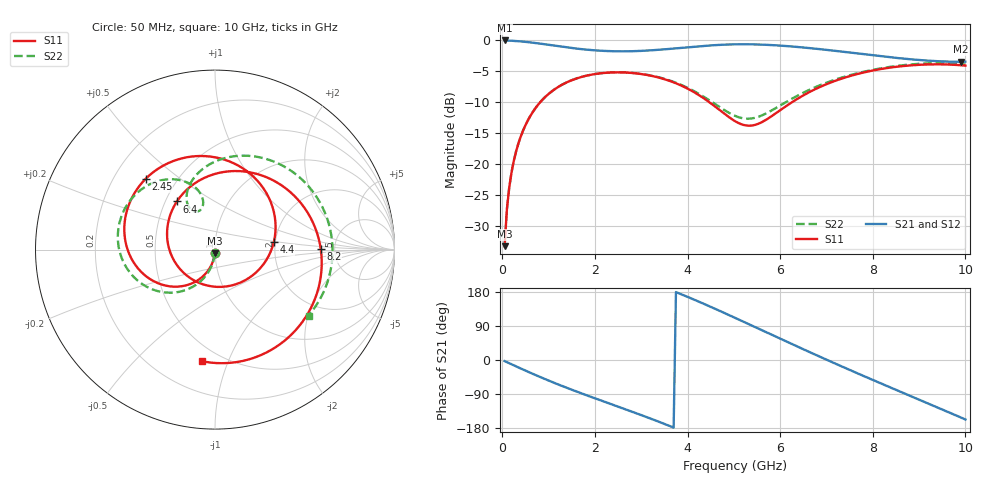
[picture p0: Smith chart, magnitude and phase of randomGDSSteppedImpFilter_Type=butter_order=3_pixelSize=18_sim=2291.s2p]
! freq	dB(S11)	phase(S11)	dB(S12)	phase(S12)
!  dB(S21)	phase(S21)	dB(S22)	phase(S22)
!S-par simulation data
#  GHz  S  DB  R 50
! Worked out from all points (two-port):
!   200 points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, 50 MHz to 10 GHz, reference 50 ohm
!   highest |S21| = 0.00 dB at 50 MHz (marker M1); lowest = -3.4 dB at 9.9 GHz (marker M2)
!   |S21| within 3 dB of the highest: start of sweep to 8.755 GHz
!   lowest |S11| = -33.3 dB at 50 MHz (marker M3), VSWR 1.04, Z = 49.8 - j2.17 ohm
!   |S11| at or under -10 dB: start of sweep to 817.3 MHz; 4.473 GHz to 6.253 GHz (1.78 GHz wide, 33.2 % of centre)
!   |S22| runs from -33.3 to -3.7 dB; largest |S21 - S12| = 0
!   S11 on the Smith chart (normalised r, x): 50 MHz: 1.00, -0.04; 2.45 GHz: 0.33, +0.38; 4.4 GHz: 1.96, +0.19; 6.4 GHz: 0.57, +0.35; 8.2 GHz: 3.87, +0.02; 10 GHz: 0.40, -0.81
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0.05  -33.25 -93.1  -0.00 -2.9  -0.00 -2.9  -33.25 -92.6
0.1  -27.25 -96.4  -0.02 -5.7  -0.02 -5.7  -27.25 -95.4
0.2  -21.30 -102.7  -0.05 -11.4  -0.05 -11.4  -21.30 -100.8
0.5  -13.70 -120.9  -0.23 -28.0  -0.23 -28.0  -13.70 -116.2
1.1  -8.06 -155.2  -0.82 -59.2  -0.82 -59.2  -8.05 -144.4
1.75  -5.82 170.4  -1.44 -89.9  -1.44 -89.9  -5.82 -171.3
2.45  -5.16 134.4  -1.75 -120.9  -1.75 -120.9  -5.15 163.0
2.95  -5.38 107.4  -1.70 -143.1  -1.70 -143.1  -5.35 145.8
3.4  -6.05 81.1  -1.50 -163.8  -1.50 -163.8  -5.99 131.2
3.9  -7.42 47.8  -1.17 171.7  -1.17 171.7  -7.31 116.4
4.4  -9.61 7.5  -0.85 145.7  -0.85 145.7  -9.33 105.8
5.05  -13.15 -65.4  -0.63 109.9  -0.63 109.9  -12.26 107.3
5.7  -12.81 -157.7  -0.71 73.2  -0.71 73.2  -11.79 120.8
6.05  -11.02 161.9  -0.86 53.5  -0.86 53.5  -10.30 120.6
6.4  -9.31 128.4  -1.07 33.9  -1.07 33.9  -8.83 115.1
6.7  -8.09 103.1  -1.29 17.3  -1.29 17.3  -7.75 107.6
7.4  -6.00 51.3  -1.87 -20.7  -1.87 -20.7  -5.84 84.5
8.2  -4.59 0.1  -2.57 -63.1  -2.57 -63.1  -4.48 52.7
8.35  -4.42 -8.7  -2.70 -70.9  -2.70 -70.9  -4.30 46.3
9.2  -3.88 -55.5  -3.27 -114.7  -3.27 -114.7  -3.70 7.1
9.9  -4.01 -91.7  -3.45 -151.6  -3.45 -151.6  -3.83 -29.5
10  -4.08 -96.9  -3.44 -157.0  -3.44 -157.0  -3.91 -35.2
